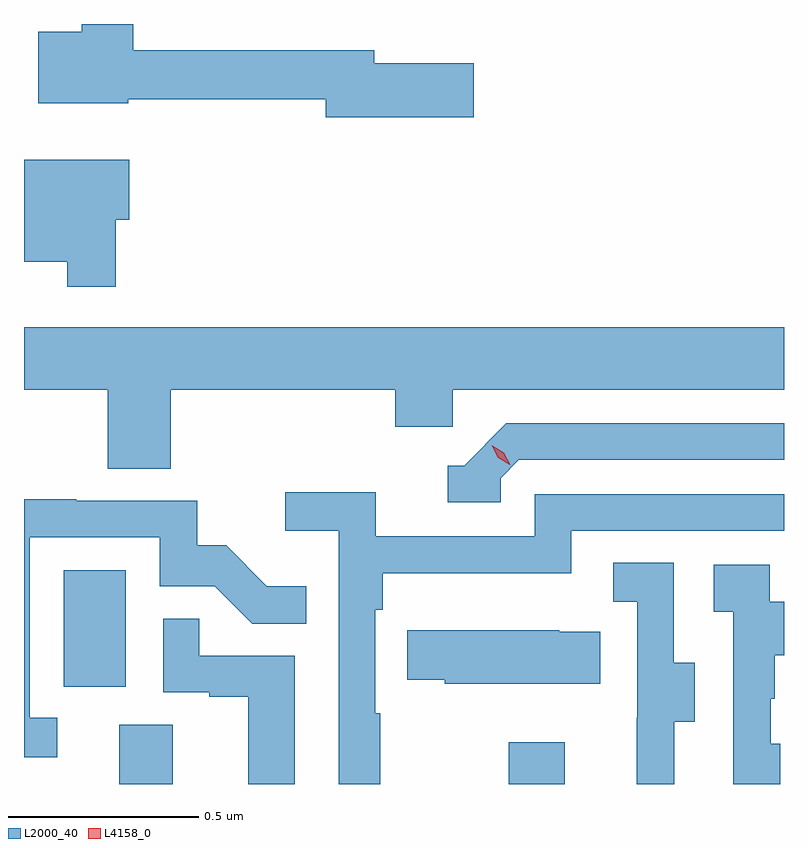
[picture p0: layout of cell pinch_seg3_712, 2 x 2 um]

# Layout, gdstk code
import gdstk
lib = gdstk.Library(unit=1e-6, precision=1e-09)
def R(c, l, rs):  # rectangles x0, y0, x1, y1
    for r in rs: c.add(gdstk.rectangle(r[:2], r[2:], *l))
def P(c, l, *ps):  # polygons
    for p in ps: c.add(gdstk.Polygon(p, *l))
L2000_40 = (2000, 40)
L4158_0 = (4158, 0)

pinch_seg3_712 = lib.new_cell('pinch_seg3_712')
R(pinch_seg3_712, L2000_40, [(1098.089,681.23,1098.229,681.386), (1099.114,681.23,1099.261,681.34), (1097.942,681.486,1098.106,681.793)])
P(pinch_seg3_712, L2000_40, [(1099.021,683.127),(1098.76,683.127),(1098.76,683.161),(1098.125,683.161),(1098.125,683.23),(1097.99,683.23),(1097.99,683.209),(1097.876,683.209),(1097.876,683.021),(1098.112,683.021),(1098.112,683.032),(1098.632,683.032),(1098.632,682.985),(1099.021,682.985)],
  [(1098.08,682.715),(1098.115,682.715),(1098.115,682.873),(1097.838,682.873),(1097.838,682.604),(1097.952,682.604),(1097.952,682.539),(1098.08,682.539)],
  [(1098.224,682.268),(1098.815,682.268),(1098.815,682.17),(1098.966,682.17),(1098.966,682.268),(1099.838,682.268),(1099.838,682.432),(1097.838,682.432),(1097.838,682.268),(1098.059,682.268),(1098.059,682.06),(1098.224,682.06)],
  [(1099.092,682.035),(1099.14,682.083),(1099.838,682.083),(1099.838,682.179),(1099.107,682.179),(1098.996,682.068),(1098.953,682.068),(1098.953,681.972),(1099.092,681.972)],
  [(1098.775,681.416),(1098.762,681.416),(1098.762,681.689),(1098.782,681.689),(1098.782,681.785),(1099.278,681.785),(1099.278,681.897),(1099.838,681.897),(1099.838,681.993),(1099.182,681.993),(1099.182,681.882),(1098.764,681.882),(1098.764,681.998),(1098.525,681.998),(1098.525,681.896),(1098.666,681.896),(1098.666,681.23),(1098.775,681.23)],
  [(1097.926,681.405),(1097.853,681.405),(1097.853,681.879),(1098.195,681.879),(1098.195,681.75),(1098.34,681.75),(1098.438,681.652),(1098.581,681.652),(1098.581,681.751),(1098.477,681.751),(1098.37,681.858),(1098.294,681.858),(1098.294,681.975),(1097.975,681.975),(1097.975,681.98),(1097.838,681.98),(1097.838,681.3),(1097.926,681.3)],
  [(1099.549,681.394),(1099.603,681.394),(1099.603,681.549),(1099.548,681.549),(1099.548,681.812),(1099.389,681.812),(1099.389,681.709),(1099.452,681.709),(1099.452,681.405),(1099.451,681.405),(1099.451,681.23),(1099.549,681.23)],
  [(1099.828,681.336),(1099.803,681.336),(1099.803,681.455),(1099.813,681.455),(1099.813,681.569),(1099.838,681.569),(1099.838,681.709),(1099.8,681.709),(1099.8,681.807),(1099.653,681.807),(1099.653,681.683),(1099.704,681.683),(1099.704,681.23),(1099.828,681.23)],
  [(1098.55,681.567),(1098.299,681.567),(1098.299,681.665),(1098.204,681.665),(1098.204,681.471),(1098.325,681.471),(1098.325,681.459),(1098.428,681.459),(1098.428,681.23),(1098.55,681.23)],
  [(1099.355,681.631),(1099.247,681.631),(1099.247,681.634),(1098.847,681.634),(1098.847,681.505),(1098.945,681.505),(1098.945,681.494),(1099.355,681.494)])
P(pinch_seg3_712, L4158_0, [(1099.116,682.07),(1099.086,682.089),(1099.069,682.121),(1099.069,682.121),(1099.069,682.121),(1099.1,682.102),(1099.117,682.07),(1099.117,682.07)])

lib.write_gds('pinch_seg3_712.gds')
